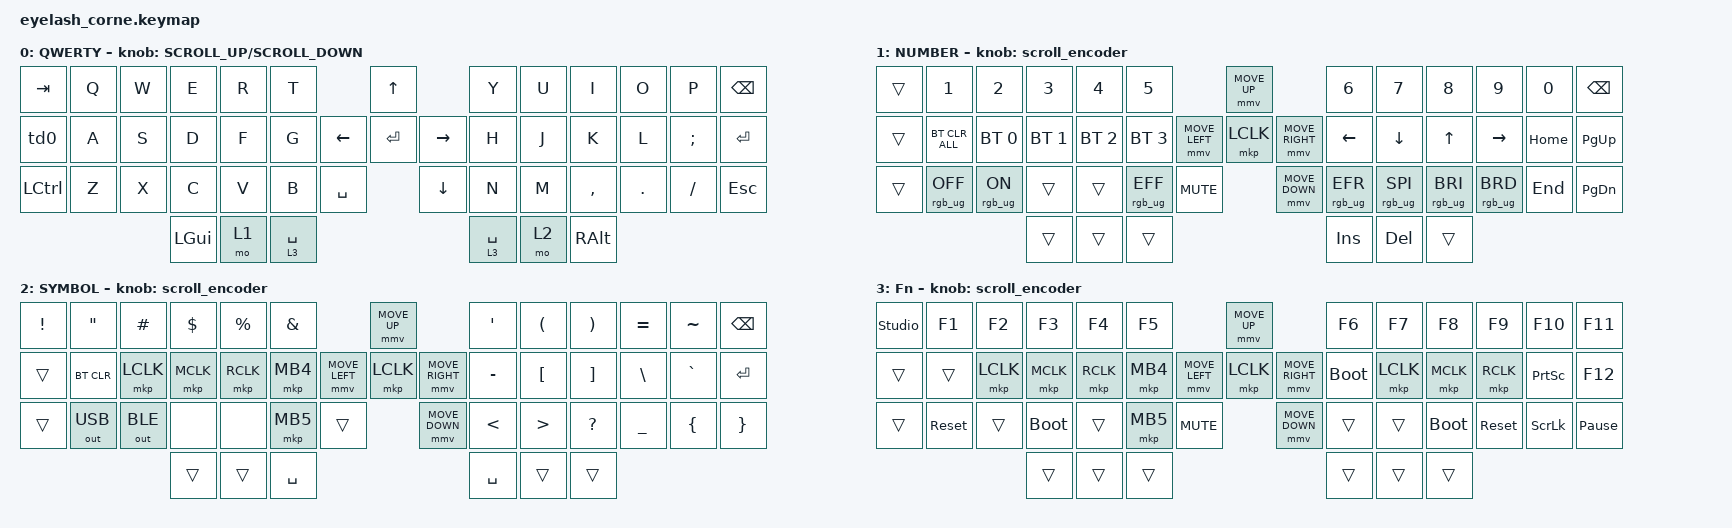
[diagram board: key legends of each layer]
#include <dt-bindings/zmk/mouse.h>
#include <input/processors.dtsi>
#include <behaviors.dtsi>
#include <dt-bindings/zmk/bt.h>
#include <dt-bindings/zmk/keys.h>
#include <dt-bindings/zmk/outputs.h>
#include <dt-bindings/zmk/pointing.h>
#include <dt-bindings/zmk/pointing.h>
#include <dt-bindings/zmk/pointing.h>
#include <dt-bindings/zmk/rgb.h>

/*

   &mmv_input_listener {
       input-processors = <&zip_xy_scaler 2 1>;
   };

   &msc_input_listener {
       input-processors = <&zip_xy_scaler 2 1>;
   };

 */

#define ZMK_MOUSE_DEFAULT_MOVE_VAL 1200  // 600
#define ZMK_MOUSE_DEFAULT_SCRL_VAL 20    // 10

/ {
    behaviors {
        td0: td0 {
            compatible = "zmk,behavior-tap-dance";
            display-name = "Shift/Caps Lock Tap Dance";
            #binding-cells = <0>;
            bindings = <&kp LEFT_SHIFT>, <&kp CAPS>;
        };
    };

    rgb_encoder: rgb_encoder {
        compatible = "zmk,behavior-sensor-rotate";
        #sensor-binding-cells = <0>;
        bindings = <&rgb_ug RGB_BRI>, <&rgb_ug RGB_BRD>;
    };

    scroll_encoder: scroll_encoder {
        compatible = "zmk,behavior-sensor-rotate";
        #sensor-binding-cells = <0>;
        bindings = <&msc SCRL_DOWN>, <&msc SCRL_UP>;

        tap-ms = <30>;
    };

    keymap {
        compatible = "zmk,keymap";

        default_layer {
            display-name = "QWERTY";
            bindings = <
&kp TAB    &kp Q  &kp W  &kp E     &kp R  &kp T                               &kp UP                &kp Y        &kp U  &kp I      &kp O    &kp P     &kp BSPC
&td0       &kp A  &kp S  &kp D     &kp F  &kp G                     &kp LEFT  &kp ENTER  &kp RIGHT  &kp H        &kp J  &kp K      &kp L    &kp SEMI  &kp ENTER
&kp LCTRL  &kp Z  &kp X  &kp C     &kp V  &kp B        &kp SPACE              &kp DOWN              &kp N        &kp M  &kp COMMA  &kp DOT  &kp FSLH  &kp ESC
                         &kp LGUI  &mo 1  &lt 3 SPACE                                               &lt 3 SPACE  &mo 2  &kp RALT
            >;

            sensor-bindings = <&inc_dec_kp K_SCROLL_UP K_SCROLL_DOWN>;
        };

        lower_layer {
            display-name = "NUMBER";
            bindings = <
&trans  &kp N1           &kp N2          &kp N3        &kp N4        &kp N5                                         &mmv MOVE_UP                     &kp N6           &kp N7           &kp N8           &kp N9           &kp N0    &kp BSPC
&trans  &bt BT_CLR_ALL   &bt BT_SEL 0    &bt BT_SEL 1  &bt BT_SEL 2  &bt BT_SEL 3                   &mmv MOVE_LEFT  &mkp LCLK       &mmv MOVE_RIGHT  &kp LEFT         &kp DOWN         &kp UP           &kp RIGHT        &kp HOME  &kp PG_UP
&trans  &rgb_ug RGB_OFF  &rgb_ug RGB_ON  &trans        &trans        &rgb_ug RGB_EFF  &kp C_MUTE                    &mmv MOVE_DOWN                   &rgb_ug RGB_EFR  &rgb_ug RGB_SPI  &rgb_ug RGB_BRI  &rgb_ug RGB_BRD  &kp END   &kp PG_DN
                                         &trans        &trans        &trans                                                                          &kp INS          &kp DEL          &trans
            >;

            sensor-bindings = <&scroll_encoder>;
        };

        raise_layer {
            display-name = "SYMBOL";
            bindings = <
&kp EXCLAMATION  &kp DOUBLE_QUOTES  &kp HASH      &kp DOLLAR  &kp PERCENT  &kp AMPERSAND                            &mmv MOVE_UP                     &kp SQT        &kp LEFT_PARENTHESIS  &kp RIGHT_PARENTHESIS  &kp EQUAL       &kp TILDE       &kp BSPC
&trans           &bt BT_CLR         &mkp LCLK     &mkp MCLK   &mkp RCLK    &mkp MB4                 &mmv MOVE_LEFT  &mkp LCLK       &mmv MOVE_RIGHT  &kp MINUS      &kp LEFT_BRACKET      &kp RIGHT_BRACKET      &kp BACKSLASH   &kp GRAVE       &kp ENTER
&trans           &out OUT_USB       &out OUT_BLE  &none       &none        &mkp MB5       &trans                    &mmv MOVE_DOWN                   &kp LESS_THAN  &kp GREATER_THAN      &kp QUESTION           &kp UNDERSCORE  &kp LEFT_BRACE  &kp RIGHT_BRACE
                                                  &trans      &trans       &kp SPACE                                                                 &kp SPACE      &trans                &trans
            >;

            sensor-bindings = <&scroll_encoder>;
        };

        layer_3 {
            display-name = "Fn";
            bindings = <
&studio_unlock  &kp F1      &kp F2     &kp F3       &kp F4     &kp F5                                  &mmv MOVE_UP                     &kp F6       &kp F7     &kp F8       &kp F9      &kp F10          &kp F11
&trans          &trans      &mkp LCLK  &mkp MCLK    &mkp RCLK  &mkp MB4                &mmv MOVE_LEFT  &mkp LCLK       &mmv MOVE_RIGHT  &bootloader  &mkp LCLK  &mkp MCLK    &mkp RCLK   &kp PRINTSCREEN  &kp F12
&trans          &sys_reset  &trans     &bootloader  &trans     &mkp MB5  &kp C_MUTE                    &mmv MOVE_DOWN                   &trans       &trans     &bootloader  &sys_reset  &kp SCROLLLOCK   &kp PAUSE_BREAK
                                       &trans       &trans     &trans                                                                   &trans       &trans     &trans
            >;

            sensor-bindings = <&scroll_encoder>;
        };
    };
};
